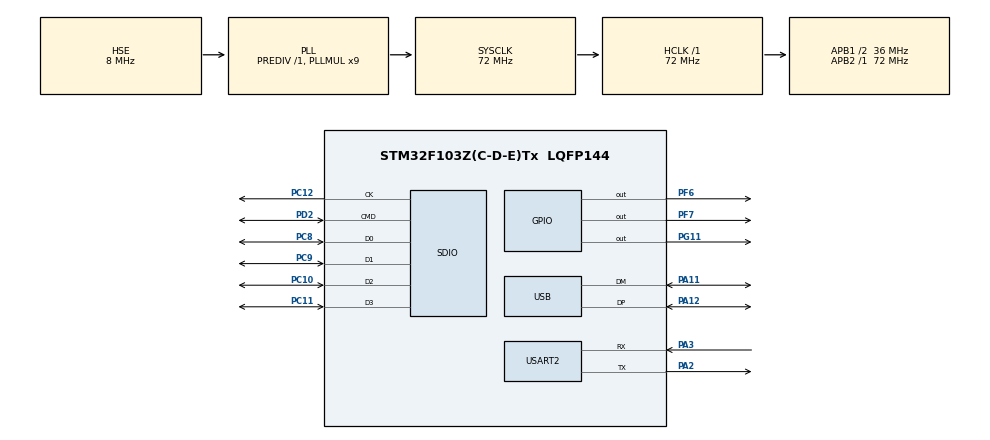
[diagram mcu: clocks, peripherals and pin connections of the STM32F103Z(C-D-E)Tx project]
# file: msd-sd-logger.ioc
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Mcu.Family=STM32F1
Mcu.Name=STM32F103Z(C-D-E)Tx
Mcu.Package=LQFP144
NVIC.PriorityGroup=NVIC_PRIORITYGROUP_4
NVIC.USB_LP_CAN1_RX0_IRQn=true\:0\:0\:false\:false\:true\:false
OSC_IN.Mode=HSE-External-Oscillator
OSC_IN.Signal=RCC_OSC_IN
OSC_OUT.Mode=HSE-External-Oscillator
OSC_OUT.Signal=RCC_OSC_OUT
PA11.Mode=Device
PA11.Signal=USB_DM
PA12.Mode=Device
PA12.Signal=USB_DP
PA13.Mode=Serial_Wire
PA13.Signal=SYS_JTMS-SWDIO
PA14.Mode=Serial_Wire
PA14.Signal=SYS_JTCK-SWCLK
PA2.Mode=Asynchronous
PA2.Signal=USART2_TX
PA3.Mode=Asynchronous
PA3.Signal=USART2_RX
PC10.Mode=SD_4_bits_Wide_bus
PC10.Signal=SDIO_D2
PC11.Mode=SD_4_bits_Wide_bus
PC11.Signal=SDIO_D3
PC12.Mode=SD_4_bits_Wide_bus
PC12.Signal=SDIO_CK
PC14-OSC32_IN.Mode=LSE-External-Oscillator
PC14-OSC32_IN.Signal=RCC_OSC32_IN
PC15-OSC32_OUT.Mode=LSE-External-Oscillator
PC15-OSC32_OUT.Signal=RCC_OSC32_OUT
PC8.Mode=SD_4_bits_Wide_bus
PC8.Signal=SDIO_D0
PC9.Mode=SD_4_bits_Wide_bus
PC9.Signal=SDIO_D1
PD2.Mode=SD_4_bits_Wide_bus
PD2.Signal=SDIO_CMD
PF6.Signal=GPIO_Output
PF7.Signal=GPIO_Output
PG11.Signal=GPIO_Output
ProjectManager.HeapSize=0x2000
ProjectManager.StackSize=0x4000
ProjectManager.TargetToolchain=MDK-ARM V4
RCC.AHBFreq_Value=72000000
RCC.APB1CLKDivider=RCC_HCLK_DIV2
RCC.APB1Freq_Value=36000000
RCC.APB1TimFreq_Value=72000000
RCC.APB2Freq_Value=72000000
RCC.APB2TimFreq_Value=72000000
RCC.HCLKFreq_Value=72000000
RCC.HSE_Timout=1000
RCC.LSE_Timout=50000
RCC.PLLMUL=RCC_PLL_MUL9
RCC.PLLSourceVirtual=RCC_PLLSOURCE_HSE
RCC.RTCClockSelection=RCC_RTCCLKSOURCE_LSE
RCC.SYSCLKFreq_VALUE=72000000
RCC.SYSCLKSource=RCC_SYSCLKSOURCE_PLLCLK
RCC.USBFreq_Value=48000000
RCC.USBPrescaler=RCC_USBCLKSOURCE_PLL_DIV1_5
RTC.Format=RTC_FORMAT_BIN
SDIO.ClockDiv=31
USART2.VirtualMode=VM_ASYNC
USB_DEVICE.CLASS_NAME_FS=MSC
USB_DEVICE.VirtualMode=Msc
USB_DEVICE.VirtualModeFS=Msc_FS
VP_FATFS_VS_Generic.Mode=User_defined
VP_RTC_VS_RTC_Activate.Mode=RTC_Enabled
VP_USB_DEVICE_VS_USB_DEVICE_MSC_FS.Mode=MSC_FS
board=msd-sd-logger

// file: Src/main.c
/**
  ******************************************************************************
  * @file           : main.c
  * @brief          : Main program body
  ******************************************************************************
  * This notice applies to any and all portions of this file
  * that are not between comment pairs USER CODE BEGIN and
  * USER CODE END. Other portions of this file, whether
  * inserted by the user or by software development tools
  * are owned by their respective copyright owners.
  *
  * Copyright (c) 2018 STMicroelectronics International N.V.
  * All rights reserved.
  *
  * Redistribution and use in source and binary forms, with or without
  * modification, are permitted, provided that the following conditions are met:
  *
  * 1. Redistribution of source code must retain the above copyright notice,
  *    this list of conditions and the following disclaimer.
  * 2. Redistributions in binary form must reproduce the above copyright notice,
  *    this list of conditions and the following disclaimer in the documentation
  *    and/or other materials provided with the distribution.
  * 3. Neither the name of STMicroelectronics nor the names of other
  *    contributors to this software may be used to endorse or promote products
  *    derived from this software without specific written permission.
  * 4. This software, including modifications and/or derivative works of this
  *    software, must execute solely and exclusively on microcontroller or
  *    microprocessor devices manufactured by or for STMicroelectronics.
  * 5. Redistribution and use of this software other than as permitted under
  *    this license is void and will automatically terminate your rights under
  *    this license.
  *
  * THIS SOFTWARE IS PROVIDED BY STMICROELECTRONICS AND CONTRIBUTORS "AS IS"
  * AND ANY EXPRESS, IMPLIED OR STATUTORY WARRANTIES, INCLUDING, BUT NOT
  * LIMITED TO, THE IMPLIED WARRANTIES OF MERCHANTABILITY, FITNESS FOR A
  * PARTICULAR PURPOSE AND NON-INFRINGEMENT OF THIRD PARTY INTELLECTUAL PROPERTY
  * RIGHTS ARE DISCLAIMED TO THE FULLEST EXTENT PERMITTED BY LAW. IN NO EVENT
  * SHALL STMICROELECTRONICS OR CONTRIBUTORS BE LIABLE FOR ANY DIRECT, INDIRECT,
  * INCIDENTAL, SPECIAL, EXEMPLARY, OR CONSEQUENTIAL DAMAGES (INCLUDING, BUT NOT
  * LIMITED TO, PROCUREMENT OF SUBSTITUTE GOODS OR SERVICES; LOSS OF USE, DATA,
  * OR PROFITS; OR BUSINESS INTERRUPTION) HOWEVER CAUSED AND ON ANY THEORY OF
  * LIABILITY, WHETHER IN CONTRACT, STRICT LIABILITY, OR TORT (INCLUDING
  * NEGLIGENCE OR OTHERWISE) ARISING IN ANY WAY OUT OF THE USE OF THIS SOFTWARE,
  * EVEN IF ADVISED OF THE POSSIBILITY OF SUCH DAMAGE.
  *
  ******************************************************************************
  */
#include "main.h"
#include "stm32f1xx_hal.h"
#include "fatfs.h"
#include "usb_device.h"

RTC_HandleTypeDef hrtc;

SD_HandleTypeDef hsd;

UART_HandleTypeDef huart2;

/* USER CODE BEGIN PV */
/* Private variables ---------------------------------------------------------*/
FATFS fat;
FRESULT res;
extern char USERPath[4];
FIL myfile;
FILINFO finfo;
/* USER CODE END PV */

void SystemClock_Config(void);
static void MX_GPIO_Init(void);
static void MX_SDIO_SD_Init(void);
static void MX_RTC_Init(void);
static void MX_USART2_UART_Init(void);

/* USER CODE BEGIN PFP */
/* Private function prototypes -----------------------------------------------*/
static char RTC_CalendarShow(uint8_t *showtime, uint8_t *showdate);

/* USER CODE END PFP */

int main(void)
{
  /* USER CODE BEGIN 1 */
  uint8_t tmhal[100],dte[100], result[4];
	int lognum = 20;
	unsigned int nbw;

  /* USER CODE END 1 */

  /* MCU Configuration----------------------------------------------------------*/

  /* Reset of all peripherals, Initializes the Flash interface and the Systick. */
  HAL_Init();

  /* Configure the system clock */
  SystemClock_Config();

  /* Initialize all configured peripherals */
  MX_GPIO_Init();
  MX_SDIO_SD_Init();
  MX_RTC_Init();
  MX_USART2_UART_Init();
  MX_USB_DEVICE_Init();
  MX_FATFS_Init();

  /* Infinite loop */
  /* USER CODE BEGIN WHILE */
	//GPIOG->ODR |= 1<<11;  //Enable USB and start enumeration
	GPIOF->ODR |= 1<<7;   //Set blinky pin
	res = f_mount(&fat,USERPath,0);
	sprintf((char *)result,"%3d\r",res);
	HAL_UART_Transmit(&huart2,result, 4, 5000);
	res |= f_mkfs((TCHAR const*)USERPath, 0, 0);
  sprintf((char *)result,"%3d\r",res);
	HAL_UART_Transmit(&huart2,result, 4, 5000);
	while (1)
  {
  /* USER CODE END WHILE */

  /* USER CODE BEGIN 3 */
	while(lognum)
	{
	  if(RTC_CalendarShow(tmhal, dte))
		{
			GPIOF->ODR ^= 1<<6;  //Blink
		  HAL_UART_Transmit(&huart2,tmhal, 9, 5000);
			res |= f_open(&myfile,"file.txt",FA_OPEN_ALWAYS | FA_WRITE | FA_READ);
	    res |= f_lseek (&myfile, myfile.fsize);
			res |= f_write (&myfile, tmhal, 9, (void *)&nbw);
			res |= f_close(&myfile);
			sprintf((char *)result,"%3d\r",nbw);
			HAL_UART_Transmit(&huart2,result, 4, 5000);
			sprintf((char *)result,"%3d\r",res);
			HAL_UART_Transmit(&huart2,result, 4, 5000);
			res &= ~res;
			lognum--;
		}
		HAL_Delay(200);
	}
	GPIOG->ODR |= 1<<11;  //Enable USB and start enumeration
	while(1);

 }
  /* USER CODE END 3 */

}

void SystemClock_Config(void)
{

  RCC_OscInitTypeDef RCC_OscInitStruct;
  RCC_ClkInitTypeDef RCC_ClkInitStruct;
  RCC_PeriphCLKInitTypeDef PeriphClkInit;

    /**Initializes the CPU, AHB and APB busses clocks
    */
  RCC_OscInitStruct.OscillatorType = RCC_OSCILLATORTYPE_HSE|RCC_OSCILLATORTYPE_LSE;
  RCC_OscInitStruct.HSEState = RCC_HSE_ON;
  RCC_OscInitStruct.HSEPredivValue = RCC_HSE_PREDIV_DIV1;
  RCC_OscInitStruct.LSEState = RCC_LSE_ON;
  RCC_OscInitStruct.HSIState = RCC_HSI_ON;
  RCC_OscInitStruct.PLL.PLLState = RCC_PLL_ON;
  RCC_OscInitStruct.PLL.PLLSource = RCC_PLLSOURCE_HSE;
  RCC_OscInitStruct.PLL.PLLMUL = RCC_PLL_MUL9;
  if (HAL_RCC_OscConfig(&RCC_OscInitStruct) != HAL_OK)
  {
    _Error_Handler(__FILE__, __LINE__);
  }

    /**Initializes the CPU, AHB and APB busses clocks
    */
  RCC_ClkInitStruct.ClockType = RCC_CLOCKTYPE_HCLK|RCC_CLOCKTYPE_SYSCLK
                              |RCC_CLOCKTYPE_PCLK1|RCC_CLOCKTYPE_PCLK2;
  RCC_ClkInitStruct.SYSCLKSource = RCC_SYSCLKSOURCE_PLLCLK;
  RCC_ClkInitStruct.AHBCLKDivider = RCC_SYSCLK_DIV1;
  RCC_ClkInitStruct.APB1CLKDivider = RCC_HCLK_DIV2;
  RCC_ClkInitStruct.APB2CLKDivider = RCC_HCLK_DIV1;

  if (HAL_RCC_ClockConfig(&RCC_ClkInitStruct, FLASH_LATENCY_2) != HAL_OK)
  {
    _Error_Handler(__FILE__, __LINE__);
  }

  PeriphClkInit.PeriphClockSelection = RCC_PERIPHCLK_RTC|RCC_PERIPHCLK_USB;
  PeriphClkInit.RTCClockSelection = RCC_RTCCLKSOURCE_LSE;
  PeriphClkInit.UsbClockSelection = RCC_USBCLKSOURCE_PLL_DIV1_5;
  if (HAL_RCCEx_PeriphCLKConfig(&PeriphClkInit) != HAL_OK)
  {
    _Error_Handler(__FILE__, __LINE__);
  }

    /**Configure the Systick interrupt time
    */
  HAL_SYSTICK_Config(HAL_RCC_GetHCLKFreq()/1000);

    /**Configure the Systick
    */
  HAL_SYSTICK_CLKSourceConfig(SYSTICK_CLKSOURCE_HCLK);

  /* SysTick_IRQn interrupt configuration */
  HAL_NVIC_SetPriority(SysTick_IRQn, 0, 0);
}

/* RTC init function */
static void MX_RTC_Init(void)
{

    /**Initialize RTC Only
    */
  hrtc.Instance = RTC;
  hrtc.Init.AsynchPrediv = RTC_AUTO_1_SECOND;
  hrtc.Init.OutPut = RTC_OUTPUTSOURCE_ALARM;
  if (HAL_RTC_Init(&hrtc) != HAL_OK)
  {
    _Error_Handler(__FILE__, __LINE__);
  }

}

/* SDIO init function */
static void MX_SDIO_SD_Init(void)
{

  hsd.Instance = SDIO;
  hsd.Init.ClockEdge = SDIO_CLOCK_EDGE_RISING;
  hsd.Init.ClockBypass = SDIO_CLOCK_BYPASS_DISABLE;
  hsd.Init.ClockPowerSave = SDIO_CLOCK_POWER_SAVE_DISABLE;
  hsd.Init.BusWide = SDIO_BUS_WIDE_1B;
  hsd.Init.HardwareFlowControl = SDIO_HARDWARE_FLOW_CONTROL_DISABLE;
  hsd.Init.ClockDiv = 31;
  if (HAL_SD_Init(&hsd) != HAL_OK)
  {
    _Error_Handler(__FILE__, __LINE__);
  }

  if (HAL_SD_ConfigWideBusOperation(&hsd, SDIO_BUS_WIDE_4B) != HAL_OK)
  {
    _Error_Handler(__FILE__, __LINE__);
  }

}

/* USART2 init function */
static void MX_USART2_UART_Init(void)
{

  huart2.Instance = USART2;
  huart2.Init.BaudRate = 115200;
  huart2.Init.WordLength = UART_WORDLENGTH_8B;
  huart2.Init.StopBits = UART_STOPBITS_1;
  huart2.Init.Parity = UART_PARITY_NONE;
  huart2.Init.Mode = UART_MODE_TX_RX;
  huart2.Init.HwFlowCtl = UART_HWCONTROL_NONE;
  huart2.Init.OverSampling = UART_OVERSAMPLING_16;
  if (HAL_UART_Init(&huart2) != HAL_OK)
  {
    _Error_Handler(__FILE__, __LINE__);
  }

}

/** Configure pins as
        * Analog
        * Input
        * Output
        * EVENT_OUT
        * EXTI
*/
static void MX_GPIO_Init(void)
{

  GPIO_InitTypeDef GPIO_InitStruct;

  /* GPIO Ports Clock Enable */
  __HAL_RCC_GPIOC_CLK_ENABLE();
  __HAL_RCC_GPIOF_CLK_ENABLE();
  __HAL_RCC_GPIOA_CLK_ENABLE();
  __HAL_RCC_GPIOD_CLK_ENABLE();
  __HAL_RCC_GPIOG_CLK_ENABLE();

  /*Configure GPIO pin Output Level */
  HAL_GPIO_WritePin(GPIOF, GPIO_PIN_6|GPIO_PIN_7, GPIO_PIN_RESET);

  /*Configure GPIO pin Output Level */
  HAL_GPIO_WritePin(GPIOG, GPIO_PIN_11, GPIO_PIN_RESET);

  /*Configure GPIO pins : PF6 PF7 */
  GPIO_InitStruct.Pin = GPIO_PIN_6|GPIO_PIN_7;
  GPIO_InitStruct.Mode = GPIO_MODE_OUTPUT_PP;
  GPIO_InitStruct.Pull = GPIO_NOPULL;
  GPIO_InitStruct.Speed = GPIO_SPEED_FREQ_LOW;
  HAL_GPIO_Init(GPIOF, &GPIO_InitStruct);

  /*Configure GPIO pin : PG11 */
  GPIO_InitStruct.Pin = GPIO_PIN_11;
  GPIO_InitStruct.Mode = GPIO_MODE_OUTPUT_PP;
  GPIO_InitStruct.Pull = GPIO_NOPULL;
  GPIO_InitStruct.Speed = GPIO_SPEED_FREQ_LOW;
  HAL_GPIO_Init(GPIOG, &GPIO_InitStruct);

}

/* USER CODE BEGIN 4 */
static char RTC_CalendarShow(uint8_t *showtime, uint8_t *showdate)
{
  RTC_DateTypeDef sdatestructureget;
  RTC_TimeTypeDef stimestructureget;
	static RTC_TimeTypeDef forcheck;
  char ret = 0;
	/* Get the RTC current Time */
  HAL_RTC_GetTime(&hrtc, &stimestructureget, RTC_FORMAT_BIN);
  /* Get the RTC current Date */
  HAL_RTC_GetDate(&hrtc, &sdatestructureget, RTC_FORMAT_BIN);
  /* Display time Format : hh:mm:ss */
	if (forcheck.Seconds != stimestructureget.Seconds)
	{
		sprintf((char *)showtime, "%02d:%02d:%02d\r", stimestructureget.Hours, stimestructureget.Minutes, stimestructureget.Seconds);
		/* Display date Format : mm-dd-yy */
		sprintf((char *)showdate, "%02d-%02d-%02d\r", sdatestructureget.Month, sdatestructureget.Date, 2000 + sdatestructureget.Year);
		ret = 1;
		forcheck.Seconds = stimestructureget.Seconds;
	}
	return ret;
}

/* USER CODE END 4 */

void _Error_Handler(char *file, int line)
{
  /* USER CODE BEGIN Error_Handler_Debug */
  /* User can add his own implementation to report the HAL error return state */
  while(1)
  {
		GPIOF->ODR ^= 1<<7;  //Blink to show error
		HAL_Delay(200);
  }
  /* USER CODE END Error_Handler_Debug */
}

/************************ (C) COPYRIGHT STMicroelectronics *****END OF FILE****/
